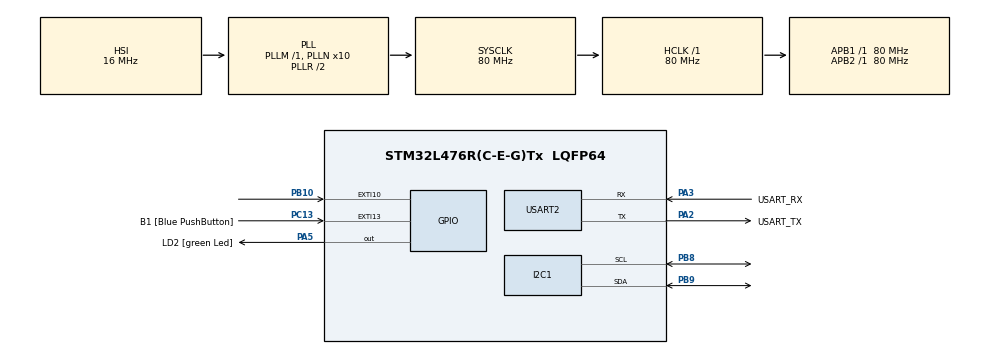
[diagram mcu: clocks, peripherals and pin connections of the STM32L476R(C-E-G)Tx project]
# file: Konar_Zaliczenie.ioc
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I2C1.Timing=0x10909CEC
Mcu.Family=STM32L4
Mcu.Name=STM32L476R(C-E-G)Tx
Mcu.Package=LQFP64
NVIC.EXTI15_10_IRQn=true\:0\:0\:false\:false\:true\:true\:true\:true
NVIC.I2C1_EV_IRQn=true\:0\:0\:false\:false\:true\:true\:true\:true
NVIC.PriorityGroup=NVIC_PRIORITYGROUP_4
NVIC.TIM1_BRK_TIM15_IRQn=true\:0\:0\:false\:false\:true\:true\:true\:true
NVIC.TIM1_UP_TIM16_IRQn=true\:0\:0\:false\:false\:true\:true\:true\:true
NVIC.USART2_IRQn=true\:0\:0\:false\:false\:true\:true\:true\:true
PA13\ (JTMS-SWDIO).GPIO_Label=TMS
PA13\ (JTMS-SWDIO).Mode=Serial_Wire
PA13\ (JTMS-SWDIO).Signal=SYS_JTMS-SWDIO
PA14\ (JTCK-SWCLK).GPIO_Label=TCK
PA14\ (JTCK-SWCLK).Mode=Serial_Wire
PA14\ (JTCK-SWCLK).Signal=SYS_JTCK-SWCLK
PA2.GPIO_Label=USART_TX
PA2.GPIO_Mode=GPIO_MODE_AF_PP
PA2.GPIO_PuPd=GPIO_NOPULL
PA2.GPIO_Speed=GPIO_SPEED_FREQ_VERY_HIGH
PA2.Mode=Asynchronous
PA2.Signal=USART2_TX
PA3.GPIO_Label=USART_RX
PA3.GPIO_Mode=GPIO_MODE_AF_PP
PA3.GPIO_PuPd=GPIO_NOPULL
PA3.GPIO_Speed=GPIO_SPEED_FREQ_VERY_HIGH
PA3.Mode=Asynchronous
PA3.Signal=USART2_RX
PA5.GPIO_Label=LD2 [green Led]
PA5.GPIO_ModeDefaultOutputPP=GPIO_MODE_OUTPUT_PP
PA5.GPIO_PuPd=GPIO_NOPULL
PA5.GPIO_Speed=GPIO_SPEED_FREQ_LOW
PA5.Signal=GPIO_Output
PB10.Signal=GPXTI10
PB3\ (JTDO-TRACESWO).GPIO_Label=SWO
PB3\ (JTDO-TRACESWO).Signal=SYS_JTDO-SWO
PB8.Mode=I2C
PB8.Signal=I2C1_SCL
PB9.Mode=I2C
PB9.Signal=I2C1_SDA
PC13.GPIO_Label=B1 [Blue PushButton]
PC13.GPIO_ModeDefaultEXTI=GPIO_MODE_IT_FALLING
PC13.GPIO_PuPd=GPIO_NOPULL
PC13.Signal=GPXTI13
PC14-OSC32_IN\ (PC14).Mode=LSE-External-Oscillator
PC14-OSC32_IN\ (PC14).Signal=RCC_OSC32_IN
PC15-OSC32_OUT\ (PC15).Mode=LSE-External-Oscillator
PC15-OSC32_OUT\ (PC15).Signal=RCC_OSC32_OUT
PH0-OSC_IN\ (PH0).Signal=RCC_OSC_IN
PH1-OSC_OUT\ (PH1).Signal=RCC_OSC_OUT
ProjectManager.HeapSize=0x200
ProjectManager.StackSize=0x400
ProjectManager.TargetToolchain=STM32CubeIDE
RCC.ADCFreq_Value=64000000
RCC.AHBFreq_Value=80000000
RCC.APB1Freq_Value=80000000
RCC.APB1TimFreq_Value=80000000
RCC.APB2Freq_Value=80000000
RCC.APB2TimFreq_Value=80000000
RCC.CortexFreq_Value=80000000
RCC.HCLKFreq_Value=80000000
RCC.HSE_VALUE=8000000
RCC.HSI_VALUE=16000000
RCC.MSI_VALUE=4000000
RCC.PLLN=10
RCC.PLLSourceVirtual=RCC_PLLSOURCE_HSI
RCC.PREFETCH_ENABLE=1
RCC.SYSCLKFreq_VALUE=80000000
RCC.SYSCLKSource=RCC_SYSCLKSOURCE_PLLCLK
RCC.USBFreq_Value=64000000
RCC.VCOOutputFreq_Value=160000000
TIM15.AutoReloadPreload=TIM_AUTORELOAD_PRELOAD_ENABLE
TIM15.Channel-Output\ Compare1\ No\ Output=TIM_CHANNEL_1
TIM15.Period=499
TIM15.Prescaler=6153
TIM16.AutoReloadPreload=TIM_AUTORELOAD_PRELOAD_ENABLE
TIM16.Channel=TIM_CHANNEL_1
TIM16.Period=999
TIM16.Prescaler=7272
USART2.VirtualMode-Asynchronous=VM_ASYNC
VP_TIM15_VS_no_output1.Mode=Output Compare1 No Output
VP_TIM16_VS_ClockSourceINT.Mode=Enable_Timer
VP_TIM16_VS_no_output1.Mode=Output Compare1 No Output
board=NUCLEO-L476RG

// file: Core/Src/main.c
/* USER CODE BEGIN Header */
/**
  ******************************************************************************
  * @file           : main.c
  * @brief          : Main program body
  ******************************************************************************
  * @attention
  *
  * Copyright (c) 2024 STMicroelectronics.
  * All rights reserved.
  *
  * This software is licensed under terms that can be found in the LICENSE file
  * in the root directory of this software component.
  * If no LICENSE file comes with this software, it is provided AS-IS.
  *
  ******************************************************************************
  */
/* USER CODE END Header */
#include "main.h"

/* USER CODE BEGIN Includes */

#include <stdbool.h>
#include <stdlib.h>
#include <stdio.h>
#include <string.h>

/* USER CODE END Includes */

I2C_HandleTypeDef hi2c1;

TIM_HandleTypeDef htim15;
TIM_HandleTypeDef htim16;

UART_HandleTypeDef huart2;

void SystemClock_Config(void);
static void MX_GPIO_Init(void);
static void MX_USART2_UART_Init(void);
static void MX_TIM16_Init(void);
static void MX_TIM15_Init(void);
static void MX_I2C1_Init(void);

/* USER CODE BEGIN 0 */

#define USER_BUTTON_Pin GPIO_PIN_13

#define HTS221_WHO_AM_I         0x0F
#define HTS221_AV_CONF          0x10
#define HTS221_CTRL_REG1        0x20
#define HTS221_CTRL_REG2        0x21
#define HTS221_CTRL_REG3        0x22
#define HTS221_STATUS_REG       0x27
#define HTS221_H0_RH_X2         0x30
#define HTS221_H1_RH_X2         0x31
#define HTS221_H0_T0_OUT_L      0x36
#define HTS221_H1_T0_OUT_L      0x3A
#define HTS221_HR_OUT_L_REG     0x28

#define HTS221_I2C_ADRESS (0b01011111<<1)

static char string[64];
static uint8_t buffer[2];

volatile bool send_data = false;
volatile bool button_pressed = false;
volatile bool read_ready = false;
static volatile bool transmistionComleteFlag = true;

void hts221_write(uint8_t adress, uint8_t value) {
	HAL_I2C_Mem_Write(&hi2c1, HTS221_I2C_ADRESS, adress, 1, &value, 1, HAL_MAX_DELAY);
}
void hts221_read(uint8_t adress, uint8_t *dest, uint8_t num) {
	HAL_I2C_Mem_Read(&hi2c1, HTS221_I2C_ADRESS, adress, 1, dest, num, HAL_MAX_DELAY);
}
void hts221_read_it(uint8_t adress, uint8_t num) {
	HAL_I2C_Mem_Read_IT(&hi2c1, HTS221_I2C_ADRESS, adress, 1, buffer, num);
}

void HAL_I2C_MemRxCpltCallback(I2C_HandleTypeDef *hi2c) {
	if(hi2c==&hi2c1) {
		read_ready = true;
	}
}

void HAL_TIM_PeriodElapsedCallback(TIM_HandleTypeDef *htim) {
	if(htim==&htim15) {
       HAL_GPIO_TogglePin(GPIOA, GPIO_PIN_5);
	}
	if(htim==&htim16 && transmistionComleteFlag) {
		send_data = true;
	}
}

void HAL_GPIO_EXTI_Callback(uint16_t GPIO_Pin) {
	if (GPIO_Pin == USER_BUTTON_Pin) {
		button_pressed = true;
	}
}

void HAL_UART_TxCpltCallback(UART_HandleTypeDef *huart) {
     if(huart==&huart2) {
    	 transmistionComleteFlag = true;
     }
}

/* USER CODE END 0 */

int main(void)
{

  /* MCU Configuration--------------------------------------------------------*/

  /* Reset of all peripherals, Initializes the Flash interface and the Systick. */
  HAL_Init();

  /* Configure the system clock */
  SystemClock_Config();

  /* Initialize all configured peripherals */
  MX_GPIO_Init();
  MX_USART2_UART_Init();
  MX_TIM16_Init();
  MX_TIM15_Init();
  MX_I2C1_Init();

  /* Infinite loop */
  /* USER CODE BEGIN WHILE */

  bool correct_I2C_adress = false;
  bool read = false;

  uint16_t H0_T0_out, H1_T0_out, H_T_out;
  uint16_t H0_rh, H1_rh;
  //uint32_t tmp;
  uint16_t value;

  uint8_t who_i_am, H0_rh_x2, H1_rh_x2;

  const char percent = '%';

  hts221_read(HTS221_WHO_AM_I, &who_i_am, 1);

  if(who_i_am == 0b10111100) {
	  correct_I2C_adress = true;
	  //sprintf(string, "Poprawny adres czujnika HTS221\n\r");
	  //HAL_UART_Transmit_IT(&huart2, (uint8_t *)string, strlen(string));
  }
  else {
	  sprintf(string, "Błędny adres czujnika HTS221\n\r");
	  HAL_UART_Transmit_IT(&huart2, (uint8_t *)string, strlen(string));
  }

  HAL_TIM_Base_Start_IT(&htim15);
  HAL_TIM_Base_Start_IT(&htim16);

  if(correct_I2C_adress) {
	  hts221_write(HTS221_CTRL_REG2, (1<<7));
	  hts221_write(HTS221_CTRL_REG1, (1<<1) | (1<<0));

	  hts221_read(HTS221_H0_RH_X2, &H0_rh_x2, 1);
	  hts221_read(HTS221_H1_RH_X2, &H1_rh_x2, 1);
	  H0_rh = H0_rh_x2 / 2;
	  H1_rh = H1_rh_x2 / 2;
	  hts221_read(HTS221_H0_T0_OUT_L, buffer, 2);
	  H0_T0_out = (((uint16_t)buffer[1])<<8) | (uint16_t)buffer[0];
	  hts221_read(HTS221_H1_T0_OUT_L, buffer, 2);
	  H1_T0_out = (((uint16_t)buffer[1])<<8) | (uint16_t)buffer[0];
  }

  while (1 && correct_I2C_adress)
  {
	  if(send_data) {
		  if(!read) {
			  hts221_read_it(HTS221_HR_OUT_L_REG, 2);
			  read = true;
		  }
		  if(read_ready) {
			  transmistionComleteFlag = false;
			  send_data = false;
			  read_ready = false;
			  read = false;
			  H_T_out = (((uint16_t)buffer[1])<<8) | (uint16_t)buffer[0];
			  value = ((H1_rh - H0_rh) * (H_T_out - H0_T0_out)) / (H1_T0_out - H0_T0_out) + H0_rh;
			  //tmp = ((int32_t)(H_T_out - H0_T0_out)) * ((int32_t)(H1_rh - H0_rh)*10);
			  //value = (uint16_t)(tmp/(H1_T0_out - H0_T0_out) + H0_rh*10);
			  if(value > 100) value = 100;

			  sprintf(string, "Wilgotność RH: %d%c\n\r", value, percent);
			  HAL_UART_Transmit_IT(&huart2, (uint8_t *)string, strlen(string));
		  }
	  }

	  if(button_pressed && transmistionComleteFlag) {
		  button_pressed = false;
		  transmistionComleteFlag = false;
		  sprintf(string, "\n\rNaciśnięto przycisk\n\r\n\r");
		  HAL_UART_Transmit_IT(&huart2, (uint8_t *)string, strlen(string));
	  }

    /* USER CODE END WHILE */

  }
}

void SystemClock_Config(void)
{
  RCC_OscInitTypeDef RCC_OscInitStruct = {0};
  RCC_ClkInitTypeDef RCC_ClkInitStruct = {0};

  /** Configure the main internal regulator output voltage
  */
  if (HAL_PWREx_ControlVoltageScaling(PWR_REGULATOR_VOLTAGE_SCALE1) != HAL_OK)
  {
    Error_Handler();
  }

  /** Initializes the RCC Oscillators according to the specified parameters
  * in the RCC_OscInitTypeDef structure.
  */
  RCC_OscInitStruct.OscillatorType = RCC_OSCILLATORTYPE_HSI;
  RCC_OscInitStruct.HSIState = RCC_HSI_ON;
  RCC_OscInitStruct.HSICalibrationValue = RCC_HSICALIBRATION_DEFAULT;
  RCC_OscInitStruct.PLL.PLLState = RCC_PLL_ON;
  RCC_OscInitStruct.PLL.PLLSource = RCC_PLLSOURCE_HSI;
  RCC_OscInitStruct.PLL.PLLM = 1;
  RCC_OscInitStruct.PLL.PLLN = 10;
  RCC_OscInitStruct.PLL.PLLP = RCC_PLLP_DIV7;
  RCC_OscInitStruct.PLL.PLLQ = RCC_PLLQ_DIV2;
  RCC_OscInitStruct.PLL.PLLR = RCC_PLLR_DIV2;
  if (HAL_RCC_OscConfig(&RCC_OscInitStruct) != HAL_OK)
  {
    Error_Handler();
  }

  /** Initializes the CPU, AHB and APB buses clocks
  */
  RCC_ClkInitStruct.ClockType = RCC_CLOCKTYPE_HCLK|RCC_CLOCKTYPE_SYSCLK
                              |RCC_CLOCKTYPE_PCLK1|RCC_CLOCKTYPE_PCLK2;
  RCC_ClkInitStruct.SYSCLKSource = RCC_SYSCLKSOURCE_PLLCLK;
  RCC_ClkInitStruct.AHBCLKDivider = RCC_SYSCLK_DIV1;
  RCC_ClkInitStruct.APB1CLKDivider = RCC_HCLK_DIV1;
  RCC_ClkInitStruct.APB2CLKDivider = RCC_HCLK_DIV1;

  if (HAL_RCC_ClockConfig(&RCC_ClkInitStruct, FLASH_LATENCY_4) != HAL_OK)
  {
    Error_Handler();
  }
}

static void MX_I2C1_Init(void)
{

  hi2c1.Instance = I2C1;
  hi2c1.Init.Timing = 0x10909CEC;
  hi2c1.Init.OwnAddress1 = 0;
  hi2c1.Init.AddressingMode = I2C_ADDRESSINGMODE_7BIT;
  hi2c1.Init.DualAddressMode = I2C_DUALADDRESS_DISABLE;
  hi2c1.Init.OwnAddress2 = 0;
  hi2c1.Init.OwnAddress2Masks = I2C_OA2_NOMASK;
  hi2c1.Init.GeneralCallMode = I2C_GENERALCALL_DISABLE;
  hi2c1.Init.NoStretchMode = I2C_NOSTRETCH_DISABLE;
  if (HAL_I2C_Init(&hi2c1) != HAL_OK)
  {
    Error_Handler();
  }

  /** Configure Analogue filter
  */
  if (HAL_I2CEx_ConfigAnalogFilter(&hi2c1, I2C_ANALOGFILTER_ENABLE) != HAL_OK)
  {
    Error_Handler();
  }

  /** Configure Digital filter
  */
  if (HAL_I2CEx_ConfigDigitalFilter(&hi2c1, 0) != HAL_OK)
  {
    Error_Handler();
  }

}

static void MX_TIM15_Init(void)
{

  TIM_MasterConfigTypeDef sMasterConfig = {0};
  TIM_OC_InitTypeDef sConfigOC = {0};
  TIM_BreakDeadTimeConfigTypeDef sBreakDeadTimeConfig = {0};

  htim15.Instance = TIM15;
  htim15.Init.Prescaler = 6153;
  htim15.Init.CounterMode = TIM_COUNTERMODE_UP;
  htim15.Init.Period = 499;
  htim15.Init.ClockDivision = TIM_CLOCKDIVISION_DIV1;
  htim15.Init.RepetitionCounter = 0;
  htim15.Init.AutoReloadPreload = TIM_AUTORELOAD_PRELOAD_ENABLE;
  if (HAL_TIM_OC_Init(&htim15) != HAL_OK)
  {
    Error_Handler();
  }
  sMasterConfig.MasterOutputTrigger = TIM_TRGO_RESET;
  sMasterConfig.MasterSlaveMode = TIM_MASTERSLAVEMODE_DISABLE;
  if (HAL_TIMEx_MasterConfigSynchronization(&htim15, &sMasterConfig) != HAL_OK)
  {
    Error_Handler();
  }
  sConfigOC.OCMode = TIM_OCMODE_TIMING;
  sConfigOC.Pulse = 0;
  sConfigOC.OCPolarity = TIM_OCPOLARITY_HIGH;
  sConfigOC.OCNPolarity = TIM_OCNPOLARITY_HIGH;
  sConfigOC.OCFastMode = TIM_OCFAST_DISABLE;
  sConfigOC.OCIdleState = TIM_OCIDLESTATE_RESET;
  sConfigOC.OCNIdleState = TIM_OCNIDLESTATE_RESET;
  if (HAL_TIM_OC_ConfigChannel(&htim15, &sConfigOC, TIM_CHANNEL_1) != HAL_OK)
  {
    Error_Handler();
  }
  sBreakDeadTimeConfig.OffStateRunMode = TIM_OSSR_DISABLE;
  sBreakDeadTimeConfig.OffStateIDLEMode = TIM_OSSI_DISABLE;
  sBreakDeadTimeConfig.LockLevel = TIM_LOCKLEVEL_OFF;
  sBreakDeadTimeConfig.DeadTime = 0;
  sBreakDeadTimeConfig.BreakState = TIM_BREAK_DISABLE;
  sBreakDeadTimeConfig.BreakPolarity = TIM_BREAKPOLARITY_HIGH;
  sBreakDeadTimeConfig.AutomaticOutput = TIM_AUTOMATICOUTPUT_DISABLE;
  if (HAL_TIMEx_ConfigBreakDeadTime(&htim15, &sBreakDeadTimeConfig) != HAL_OK)
  {
    Error_Handler();
  }

}

static void MX_TIM16_Init(void)
{

  TIM_OC_InitTypeDef sConfigOC = {0};
  TIM_BreakDeadTimeConfigTypeDef sBreakDeadTimeConfig = {0};

  htim16.Instance = TIM16;
  htim16.Init.Prescaler = 7272;
  htim16.Init.CounterMode = TIM_COUNTERMODE_UP;
  htim16.Init.Period = 999;
  htim16.Init.ClockDivision = TIM_CLOCKDIVISION_DIV1;
  htim16.Init.RepetitionCounter = 0;
  htim16.Init.AutoReloadPreload = TIM_AUTORELOAD_PRELOAD_ENABLE;
  if (HAL_TIM_Base_Init(&htim16) != HAL_OK)
  {
    Error_Handler();
  }
  if (HAL_TIM_OC_Init(&htim16) != HAL_OK)
  {
    Error_Handler();
  }
  sConfigOC.OCMode = TIM_OCMODE_TIMING;
  sConfigOC.Pulse = 0;
  sConfigOC.OCPolarity = TIM_OCPOLARITY_HIGH;
  sConfigOC.OCNPolarity = TIM_OCNPOLARITY_HIGH;
  sConfigOC.OCFastMode = TIM_OCFAST_DISABLE;
  sConfigOC.OCIdleState = TIM_OCIDLESTATE_RESET;
  sConfigOC.OCNIdleState = TIM_OCNIDLESTATE_RESET;
  if (HAL_TIM_OC_ConfigChannel(&htim16, &sConfigOC, TIM_CHANNEL_1) != HAL_OK)
  {
    Error_Handler();
  }
  sBreakDeadTimeConfig.OffStateRunMode = TIM_OSSR_DISABLE;
  sBreakDeadTimeConfig.OffStateIDLEMode = TIM_OSSI_DISABLE;
  sBreakDeadTimeConfig.LockLevel = TIM_LOCKLEVEL_OFF;
  sBreakDeadTimeConfig.DeadTime = 0;
  sBreakDeadTimeConfig.BreakState = TIM_BREAK_DISABLE;
  sBreakDeadTimeConfig.BreakPolarity = TIM_BREAKPOLARITY_HIGH;
  sBreakDeadTimeConfig.AutomaticOutput = TIM_AUTOMATICOUTPUT_DISABLE;
  if (HAL_TIMEx_ConfigBreakDeadTime(&htim16, &sBreakDeadTimeConfig) != HAL_OK)
  {
    Error_Handler();
  }

}

static void MX_USART2_UART_Init(void)
{

  huart2.Instance = USART2;
  huart2.Init.BaudRate = 115200;
  huart2.Init.WordLength = UART_WORDLENGTH_8B;
  huart2.Init.StopBits = UART_STOPBITS_1;
  huart2.Init.Parity = UART_PARITY_NONE;
  huart2.Init.Mode = UART_MODE_TX_RX;
  huart2.Init.HwFlowCtl = UART_HWCONTROL_NONE;
  huart2.Init.OverSampling = UART_OVERSAMPLING_16;
  huart2.Init.OneBitSampling = UART_ONE_BIT_SAMPLE_DISABLE;
  huart2.AdvancedInit.AdvFeatureInit = UART_ADVFEATURE_NO_INIT;
  if (HAL_UART_Init(&huart2) != HAL_OK)
  {
    Error_Handler();
  }

}

static void MX_GPIO_Init(void)
{
  GPIO_InitTypeDef GPIO_InitStruct = {0};

  /* GPIO Ports Clock Enable */
  __HAL_RCC_GPIOC_CLK_ENABLE();
  __HAL_RCC_GPIOH_CLK_ENABLE();
  __HAL_RCC_GPIOA_CLK_ENABLE();
  __HAL_RCC_GPIOB_CLK_ENABLE();

  /*Configure GPIO pin Output Level */
  HAL_GPIO_WritePin(LD2_GPIO_Port, LD2_Pin, GPIO_PIN_RESET);

  /*Configure GPIO pin : B1_Pin */
  GPIO_InitStruct.Pin = B1_Pin;
  GPIO_InitStruct.Mode = GPIO_MODE_IT_FALLING;
  GPIO_InitStruct.Pull = GPIO_NOPULL;
  HAL_GPIO_Init(B1_GPIO_Port, &GPIO_InitStruct);

  /*Configure GPIO pin : LD2_Pin */
  GPIO_InitStruct.Pin = LD2_Pin;
  GPIO_InitStruct.Mode = GPIO_MODE_OUTPUT_PP;
  GPIO_InitStruct.Pull = GPIO_NOPULL;
  GPIO_InitStruct.Speed = GPIO_SPEED_FREQ_LOW;
  HAL_GPIO_Init(LD2_GPIO_Port, &GPIO_InitStruct);

  /*Configure GPIO pin : PB10 */
  GPIO_InitStruct.Pin = GPIO_PIN_10;
  GPIO_InitStruct.Mode = GPIO_MODE_IT_RISING;
  GPIO_InitStruct.Pull = GPIO_NOPULL;
  HAL_GPIO_Init(GPIOB, &GPIO_InitStruct);

  /* EXTI interrupt init*/
  HAL_NVIC_SetPriority(EXTI15_10_IRQn, 0, 0);
  HAL_NVIC_EnableIRQ(EXTI15_10_IRQn);

}

void Error_Handler(void)
{
  __disable_irq();
  while (1)
  {
  }
}
